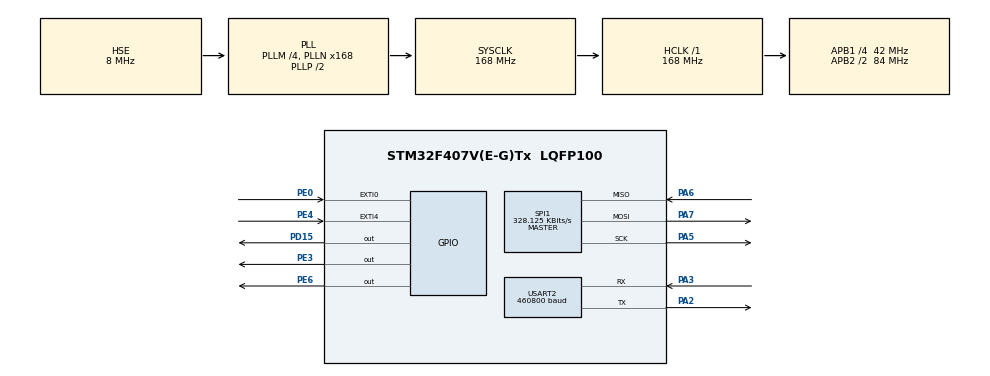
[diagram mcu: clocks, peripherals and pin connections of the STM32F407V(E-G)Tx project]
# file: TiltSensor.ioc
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Dma.Request0=SPI1_RX
Dma.Request1=SPI1_TX
Dma.Request2=USART2_TX
Dma.SPI1_RX.0.Direction=DMA_PERIPH_TO_MEMORY
Dma.SPI1_RX.0.FIFOMode=DMA_FIFOMODE_DISABLE
Dma.SPI1_RX.0.Instance=DMA2_Stream0
Dma.SPI1_RX.0.MemDataAlignment=DMA_MDATAALIGN_BYTE
Dma.SPI1_RX.0.MemInc=DMA_MINC_ENABLE
Dma.SPI1_RX.0.Mode=DMA_NORMAL
Dma.SPI1_RX.0.PeriphDataAlignment=DMA_PDATAALIGN_BYTE
Dma.SPI1_RX.0.PeriphInc=DMA_PINC_DISABLE
Dma.SPI1_RX.0.Priority=DMA_PRIORITY_LOW
Dma.SPI1_TX.1.Direction=DMA_MEMORY_TO_PERIPH
Dma.SPI1_TX.1.FIFOMode=DMA_FIFOMODE_DISABLE
Dma.SPI1_TX.1.Instance=DMA2_Stream3
Dma.SPI1_TX.1.MemDataAlignment=DMA_MDATAALIGN_BYTE
Dma.SPI1_TX.1.MemInc=DMA_MINC_ENABLE
Dma.SPI1_TX.1.Mode=DMA_NORMAL
Dma.SPI1_TX.1.PeriphDataAlignment=DMA_PDATAALIGN_BYTE
Dma.SPI1_TX.1.PeriphInc=DMA_PINC_DISABLE
Dma.SPI1_TX.1.Priority=DMA_PRIORITY_LOW
Dma.USART2_TX.2.Direction=DMA_MEMORY_TO_PERIPH
Dma.USART2_TX.2.FIFOMode=DMA_FIFOMODE_DISABLE
Dma.USART2_TX.2.Instance=DMA1_Stream6
Dma.USART2_TX.2.MemDataAlignment=DMA_MDATAALIGN_BYTE
Dma.USART2_TX.2.MemInc=DMA_MINC_ENABLE
Dma.USART2_TX.2.Mode=DMA_NORMAL
Dma.USART2_TX.2.PeriphDataAlignment=DMA_PDATAALIGN_BYTE
Dma.USART2_TX.2.PeriphInc=DMA_PINC_DISABLE
Dma.USART2_TX.2.Priority=DMA_PRIORITY_LOW
FREERTOS.Queues01=QueueSPI1,16,uint16_t,0,Dynamic,NULL,NULL;QueueUART2,16,uint16_t,0,Dynamic,NULL,NULL
FREERTOS.Tasks01=defaultTask,24,128,StartDefaultTask,Default,NULL,Dynamic,NULL,NULL;MPU6500Task,8,128,MPU6500TaskEntry,Default,NULL,Dynamic,NULL,NULL;UART2ReceivedCm,8,128,UART2ReceivedCmdEntry,Default,NULL,Dynamic,NULL,NULL
Mcu.Family=STM32F4
Mcu.Name=STM32F407V(E-G)Tx
Mcu.Package=LQFP100
NVIC.DMA1_Stream6_IRQn=true\:5\:0\:false\:false\:true\:true\:false\:true
NVIC.DMA2_Stream0_IRQn=true\:5\:0\:false\:false\:true\:true\:false\:true
NVIC.DMA2_Stream3_IRQn=true\:5\:0\:true\:false\:true\:false\:false\:true
NVIC.PriorityGroup=NVIC_PRIORITYGROUP_4
NVIC.SPI1_IRQn=true\:5\:0\:false\:false\:true\:false\:true\:true
NVIC.TIM8_TRG_COM_TIM14_IRQn=true\:0\:0\:false\:false\:true\:false\:false\:true
NVIC.TimeBase=TIM8_TRG_COM_TIM14_IRQn
NVIC.TimeBaseIP=TIM14
NVIC.USART2_IRQn=true\:5\:0\:false\:false\:true\:true\:true\:true
PA13.Mode=Serial_Wire
PA13.Signal=SYS_JTMS-SWDIO
PA14.Mode=Serial_Wire
PA14.Signal=SYS_JTCK-SWCLK
PA2.Mode=Asynchronous
PA2.Signal=USART2_TX
PA3.Mode=Asynchronous
PA3.Signal=USART2_RX
PA5.Mode=Full_Duplex_Master
PA5.Signal=SPI1_SCK
PA6.Mode=Full_Duplex_Master
PA6.Signal=SPI1_MISO
PA7.Mode=Full_Duplex_Master
PA7.Signal=SPI1_MOSI
PD15.Signal=GPIO_Output
PE0.Signal=GPXTI0
PE3.Signal=GPIO_Output
PE4.Signal=GPXTI4
PE6.Signal=GPIO_Output
PH0-OSC_IN.Mode=HSE-External-Oscillator
PH0-OSC_IN.Signal=RCC_OSC_IN
PH1-OSC_OUT.Mode=HSE-External-Oscillator
PH1-OSC_OUT.Signal=RCC_OSC_OUT
ProjectManager.HeapSize=0x200
ProjectManager.StackSize=0x400
ProjectManager.TargetToolchain=STM32CubeIDE
RCC.48MHZClocksFreq_Value=84000000
RCC.AHBFreq_Value=168000000
RCC.APB1CLKDivider=RCC_HCLK_DIV4
RCC.APB1Freq_Value=42000000
RCC.APB1TimFreq_Value=84000000
RCC.APB2CLKDivider=RCC_HCLK_DIV2
RCC.APB2Freq_Value=84000000
RCC.APB2TimFreq_Value=168000000
RCC.CortexFreq_Value=168000000
RCC.HCLKFreq_Value=168000000
RCC.HSE_VALUE=8000000
RCC.HSI_VALUE=16000000
RCC.LSE_VALUE=32768
RCC.PLLM=4
RCC.PLLN=168
RCC.PLLSourceVirtual=RCC_PLLSOURCE_HSE
RCC.SYSCLKFreq_VALUE=168000000
RCC.SYSCLKSource=RCC_SYSCLKSOURCE_PLLCLK
RCC.VCOOutputFreq_Value=336000000
SPI1.BaudRatePrescaler=SPI_BAUDRATEPRESCALER_256
SPI1.CalculateBaudRate=328.125 KBits/s
SPI1.Direction=SPI_DIRECTION_2LINES
SPI1.Mode=SPI_MODE_MASTER
SPI1.VirtualType=VM_MASTER
USART2.BaudRate=460800
USART2.VirtualMode=VM_ASYNC
VP_FREERTOS_VS_CMSIS_V2.Mode=CMSIS_V2
VP_SYS_VS_tim14.Mode=TIM14
board=custom

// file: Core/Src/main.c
/* USER CODE BEGIN Header */
/**
 ******************************************************************************
 * @file           : main.c
 * @brief          : Main program body
 ******************************************************************************
 * @attention
 *
 * <h2><center>&copy; Copyright (c) 2020 STMicroelectronics.
 * All rights reserved.</center></h2>
 *
 * This software component is licensed by ST under BSD 3-Clause license,
 * the "License"; You may not use this file except in compliance with the
 * License. You may obtain a copy of the License at:
 *                        opensource.org/licenses/BSD-3-Clause
 *
 ******************************************************************************
 */
/* USER CODE END Header */
#include "main.h"
#include "cmsis_os.h"

SPI_HandleTypeDef hspi1;
DMA_HandleTypeDef hdma_spi1_rx;
DMA_HandleTypeDef hdma_spi1_tx;

UART_HandleTypeDef huart2;
DMA_HandleTypeDef hdma_usart2_tx;

/* Definitions for defaultTask */
osThreadId_t defaultTaskHandle;
const osThreadAttr_t defaultTask_attributes = { .name = "defaultTask",
		.priority = (osPriority_t) osPriorityNormal, .stack_size = 128 * 4 };
/* Definitions for MPU6500Task */
osThreadId_t MPU6500TaskHandle;
const osThreadAttr_t MPU6500Task_attributes = { .name = "MPU6500Task",
		.priority = (osPriority_t) osPriorityLow, .stack_size = 128 * 4 };
/* Definitions for UART2ReceivedCm */
osThreadId_t UART2ReceivedCmHandle;
const osThreadAttr_t UART2ReceivedCm_attributes = { .name = "UART2ReceivedCm",
		.priority = (osPriority_t) osPriorityLow, .stack_size = 128 * 4 };
/* Definitions for QueueSPI1 */
osMessageQueueId_t QueueSPI1Handle;
const osMessageQueueAttr_t QueueSPI1_attributes = { .name = "QueueSPI1" };
/* Definitions for QueueUART2 */
osMessageQueueId_t QueueUART2Handle;
const osMessageQueueAttr_t QueueUART2_attributes = { .name = "QueueUART2" };
/* USER CODE BEGIN PV */
uint8_t SPI1ReceiveArray[100], MPU6500Initialized;
uint8_t UART2TransmittArray[200];
uint8_t CalibratingStateMachine, Calibrate;
int16_t AccX, AccY, AccZ;
int16_t GyroX, GyroY, GyroZ;
int16_t AccXZero, AccYZero, AccZZero;
int16_t GyroXZero, GyroYZero, GyroZZero;
int32_t SummAccX, SummAccY, SummAccZ, SummGyroX, SummGyroY, SummGyroZ;
int16_t CalibrateCnt;
float AccXfl, AccYfl, AccZfl;
float GyroXfl, GyroYfl, GyroZfl;
int16_t Temperature, CntSPI;
volatile uint32_t TimestampCounter, Timestamp;
uint8_t PacketRec[SIZE_OF_REC_ARRAY];
/* USER CODE END PV */

void SystemClock_Config(void);
static void MX_GPIO_Init(void);
static void MX_DMA_Init(void);
static void MX_SPI1_Init(void);
static void MX_USART2_UART_Init(void);
void StartDefaultTask(void *argument);
void MPU6500TaskEntry(void *argument);
void UART2ReceivedCmdEntry(void *argument);

/* USER CODE BEGIN PFP */
void InitMPU6500(void);
void WriteRegisterMPU6500(uint8_t Addr, uint8_t Data);
uint8_t ReadRegisterMPU6500(uint8_t Addr);
unsigned char CalcCheckSumm(unsigned int N, unsigned char *Array);
void Calibrating(void);
/* USER CODE END PFP */

int main(void) {

	/* MCU Configuration--------------------------------------------------------*/

	/* Reset of all peripherals, Initializes the Flash interface and the Systick. */
	HAL_Init();

	/* Configure the system clock */
	SystemClock_Config();

	/* Initialize all configured peripherals */
	MX_GPIO_Init();
	MX_DMA_Init();
	MX_SPI1_Init();
	MX_USART2_UART_Init();
	/* USER CODE BEGIN 2 */
	HAL_GPIO_WritePin(LIS3DSH_CS, GPIO_PIN_SET); //CS=1 for onoard accelerometer
	HAL_GPIO_WritePin(MPU6500_CS, GPIO_PIN_SET); //CS=1 for MPU6500

	InitMPU6500();
	/* USER CODE END 2 */

	/* Init scheduler */
	osKernelInitialize();

	/* Create the queue(s) */
	/* creation of QueueSPI1 */
	QueueSPI1Handle = osMessageQueueNew(16, sizeof(uint16_t),
			&QueueSPI1_attributes);

	/* creation of QueueUART2 */
	QueueUART2Handle = osMessageQueueNew(16, sizeof(uint16_t),
			&QueueUART2_attributes);

	/* Create the thread(s) */
	/* creation of defaultTask */
	defaultTaskHandle = osThreadNew(StartDefaultTask, NULL,
			&defaultTask_attributes);

	/* creation of MPU6500Task */
	MPU6500TaskHandle = osThreadNew(MPU6500TaskEntry, NULL,
			&MPU6500Task_attributes);

	/* creation of UART2ReceivedCm */
	UART2ReceivedCmHandle = osThreadNew(UART2ReceivedCmdEntry, NULL,
			&UART2ReceivedCm_attributes);

	/* USER CODE BEGIN RTOS_EVENTS */
	/* add events, ... */
	CalibratingStateMachine = 0; //Старт калибровки
	//Calibrate = 1;//Калибровка по включению
	/* USER CODE END RTOS_EVENTS */

	/* Start scheduler */
	osKernelStart();

	/* We should never get here as control is now taken by the scheduler */
	/* Infinite loop */
	while (1) {

	}
}

void SystemClock_Config(void) {
	RCC_OscInitTypeDef RCC_OscInitStruct = { 0 };
	RCC_ClkInitTypeDef RCC_ClkInitStruct = { 0 };

	/** Configure the main internal regulator output voltage
	 */
	__HAL_RCC_PWR_CLK_ENABLE();
	__HAL_PWR_VOLTAGESCALING_CONFIG(PWR_REGULATOR_VOLTAGE_SCALE1);
	/** Initializes the RCC Oscillators according to the specified parameters
	 * in the RCC_OscInitTypeDef structure.
	 */
	RCC_OscInitStruct.OscillatorType = RCC_OSCILLATORTYPE_HSE;
	RCC_OscInitStruct.HSEState = RCC_HSE_ON;
	RCC_OscInitStruct.PLL.PLLState = RCC_PLL_ON;
	RCC_OscInitStruct.PLL.PLLSource = RCC_PLLSOURCE_HSE;
	RCC_OscInitStruct.PLL.PLLM = 4;
	RCC_OscInitStruct.PLL.PLLN = 168;
	RCC_OscInitStruct.PLL.PLLP = RCC_PLLP_DIV2;
	RCC_OscInitStruct.PLL.PLLQ = 4;
	if (HAL_RCC_OscConfig(&RCC_OscInitStruct) != HAL_OK) {
		Error_Handler();
	}
	/** Initializes the CPU, AHB and APB buses clocks
	 */
	RCC_ClkInitStruct.ClockType = RCC_CLOCKTYPE_HCLK | RCC_CLOCKTYPE_SYSCLK
			| RCC_CLOCKTYPE_PCLK1 | RCC_CLOCKTYPE_PCLK2;
	RCC_ClkInitStruct.SYSCLKSource = RCC_SYSCLKSOURCE_PLLCLK;
	RCC_ClkInitStruct.AHBCLKDivider = RCC_SYSCLK_DIV1;
	RCC_ClkInitStruct.APB1CLKDivider = RCC_HCLK_DIV4;
	RCC_ClkInitStruct.APB2CLKDivider = RCC_HCLK_DIV2;

	if (HAL_RCC_ClockConfig(&RCC_ClkInitStruct, FLASH_LATENCY_5) != HAL_OK) {
		Error_Handler();
	}
}

static void MX_SPI1_Init(void) {

	/* SPI1 parameter configuration*/
	hspi1.Instance = SPI1;
	hspi1.Init.Mode = SPI_MODE_MASTER;
	hspi1.Init.Direction = SPI_DIRECTION_2LINES;
	hspi1.Init.DataSize = SPI_DATASIZE_8BIT;
	hspi1.Init.CLKPolarity = SPI_POLARITY_LOW;
	hspi1.Init.CLKPhase = SPI_PHASE_1EDGE;
	hspi1.Init.NSS = SPI_NSS_SOFT;
	hspi1.Init.BaudRatePrescaler = SPI_BAUDRATEPRESCALER_256;
	hspi1.Init.FirstBit = SPI_FIRSTBIT_MSB;
	hspi1.Init.TIMode = SPI_TIMODE_DISABLE;
	hspi1.Init.CRCCalculation = SPI_CRCCALCULATION_DISABLE;
	hspi1.Init.CRCPolynomial = 10;
	if (HAL_SPI_Init(&hspi1) != HAL_OK) {
		Error_Handler();
	}

}

static void MX_USART2_UART_Init(void) {

	huart2.Instance = USART2;
	huart2.Init.BaudRate = 460800;
	huart2.Init.WordLength = UART_WORDLENGTH_8B;
	huart2.Init.StopBits = UART_STOPBITS_1;
	huart2.Init.Parity = UART_PARITY_NONE;
	huart2.Init.Mode = UART_MODE_TX_RX;
	huart2.Init.HwFlowCtl = UART_HWCONTROL_NONE;
	huart2.Init.OverSampling = UART_OVERSAMPLING_16;
	if (HAL_UART_Init(&huart2) != HAL_OK) {
		Error_Handler();
	}
	/* USER CODE BEGIN USART2_Init 2 */

	huart2.Instance->CR1 |= USART_CR1_RXNEIE;

	/* USER CODE END USART2_Init 2 */

}

static void MX_DMA_Init(void) {

	/* DMA controller clock enable */
	__HAL_RCC_DMA2_CLK_ENABLE();
	__HAL_RCC_DMA1_CLK_ENABLE();

	/* DMA interrupt init */
	/* DMA1_Stream6_IRQn interrupt configuration */
	HAL_NVIC_SetPriority(DMA1_Stream6_IRQn, 5, 0);
	HAL_NVIC_EnableIRQ(DMA1_Stream6_IRQn);
	/* DMA2_Stream0_IRQn interrupt configuration */
	HAL_NVIC_SetPriority(DMA2_Stream0_IRQn, 5, 0);
	HAL_NVIC_EnableIRQ(DMA2_Stream0_IRQn);
	/* DMA2_Stream3_IRQn interrupt configuration */
	HAL_NVIC_SetPriority(DMA2_Stream3_IRQn, 5, 0);
	HAL_NVIC_EnableIRQ(DMA2_Stream3_IRQn);

}

static void MX_GPIO_Init(void) {
	GPIO_InitTypeDef GPIO_InitStruct = { 0 };

	/* GPIO Ports Clock Enable */
	__HAL_RCC_GPIOE_CLK_ENABLE();
	__HAL_RCC_GPIOH_CLK_ENABLE();
	__HAL_RCC_GPIOA_CLK_ENABLE();
	__HAL_RCC_GPIOD_CLK_ENABLE();

	/*Configure GPIO pin Output Level */
	HAL_GPIO_WritePin(GPIOE, GPIO_PIN_3 | GPIO_PIN_6, GPIO_PIN_RESET);

	/*Configure GPIO pin Output Level */
	HAL_GPIO_WritePin(GPIOD, GPIO_PIN_15, GPIO_PIN_RESET);

	/*Configure GPIO pins : PE3 PE6 */
	GPIO_InitStruct.Pin = GPIO_PIN_3 | GPIO_PIN_6;
	GPIO_InitStruct.Mode = GPIO_MODE_OUTPUT_PP;
	GPIO_InitStruct.Pull = GPIO_NOPULL;
	GPIO_InitStruct.Speed = GPIO_SPEED_FREQ_LOW;
	HAL_GPIO_Init(GPIOE, &GPIO_InitStruct);

	/*Configure GPIO pins : PE4 PE0 */
	GPIO_InitStruct.Pin = GPIO_PIN_4 | GPIO_PIN_0;
	GPIO_InitStruct.Mode = GPIO_MODE_IT_RISING;
	GPIO_InitStruct.Pull = GPIO_NOPULL;
	HAL_GPIO_Init(GPIOE, &GPIO_InitStruct);

	/*Configure GPIO pin : PD15 */
	GPIO_InitStruct.Pin = GPIO_PIN_15;
	GPIO_InitStruct.Mode = GPIO_MODE_OUTPUT_PP;
	GPIO_InitStruct.Pull = GPIO_NOPULL;
	GPIO_InitStruct.Speed = GPIO_SPEED_FREQ_LOW;
	HAL_GPIO_Init(GPIOD, &GPIO_InitStruct);

}

/* USER CODE BEGIN 4 */
void InitMPU6500(void) {
	uint8_t Ch;

	//WriteRegisterMPU6500(CTRL_REG3,0x1);//soft reset

	Ch = ReadRegisterMPU6500(117);
	asm("Nop");

	WriteRegisterMPU6500(PWR_MGMT_1, 0x80);
	HAL_Delay(110);
	WriteRegisterMPU6500(SIGNAL_PATH_RESET, 0x07);
	HAL_Delay(110);
	WriteRegisterMPU6500(USER_CTRL, 0x10);
	HAL_Delay(110);

	WriteRegisterMPU6500(ACCEL_CONFIG, 0x0);
	WriteRegisterMPU6500(ACCEL_CONFIG_2, 0x0);
	WriteRegisterMPU6500(GYRO_CONFIG, 0x0);

	WriteRegisterMPU6500(PWR_MGMT_1, 0x0);
	WriteRegisterMPU6500(PWR_MGMT_2, 0x0);
	//WriteRegisterMPU6500(LP_ACCEL_ODR, 10);

	WriteRegisterMPU6500(FIFO_EN, 0x0);
	WriteRegisterMPU6500(CONFIG, 0x0);

	WriteRegisterMPU6500(INT_PIN_CFG, 0x30);
	WriteRegisterMPU6500(INT_ENABLE, 0x1);

	WriteRegisterMPU6500(SMPLRT_DIV, 0x0);

	MPU6500Initialized = 1;
}

void WriteRegisterMPU6500(uint8_t Addr, uint8_t Data) {
	uint8_t TrmBytes[2];

	HAL_GPIO_WritePin(MPU6500_CS, GPIO_PIN_RESET);
	TrmBytes[0] = Addr;
	TrmBytes[1] = Data;
	HAL_SPI_Transmit(&hspi1, TrmBytes, 2, 1000);
	HAL_GPIO_WritePin(MPU6500_CS, GPIO_PIN_SET);
}

uint8_t ReadRegisterMPU6500(uint8_t Addr) {
	uint8_t TrmByte, RecByte;

	HAL_GPIO_WritePin(MPU6500_CS, GPIO_PIN_RESET);
	TrmByte = Addr;
	TrmByte |= 0x80;
	HAL_SPI_Transmit(&hspi1, &TrmByte, 1, 1000);
	HAL_SPI_Receive(&hspi1, &RecByte, 1, 1000);

	HAL_GPIO_WritePin(MPU6500_CS, GPIO_PIN_SET);

	return RecByte;
}

void ProcessDataMPU6500(void) {

	AccX = (((int16_t) SPI1ReceiveArray[1]) << 8)
			+ (int16_t) SPI1ReceiveArray[2];
	AccY = (((int16_t) SPI1ReceiveArray[3]) << 8)
			+ (int16_t) SPI1ReceiveArray[4];
	AccZ = (((int16_t) SPI1ReceiveArray[5]) << 8)
			+ (int16_t) SPI1ReceiveArray[6];

	Temperature = (((int16_t) SPI1ReceiveArray[7]) << 8)
			+ (int16_t) SPI1ReceiveArray[8];

	GyroX = (((int16_t) SPI1ReceiveArray[9]) << 8)
			+ (int16_t) SPI1ReceiveArray[10];
	GyroY = (((int16_t) SPI1ReceiveArray[11]) << 8)
			+ (int16_t) SPI1ReceiveArray[12];
	GyroZ = (((int16_t) SPI1ReceiveArray[13]) << 8)
			+ (int16_t) SPI1ReceiveArray[14];

	Calibrating();

	AccXfl = AccXZero - AccX;//меняем знак оси, чтобы он соответствовал матрице поворота
	AccYfl = AccYZero - AccY;//меняем знак оси, чтобы он соответствовал матрице поворота
	AccZfl = AccZ - AccZZero;
	GyroXfl = GyroX - GyroXZero;
	GyroYfl = GyroY - GyroYZero;
	GyroZfl = GyroZ - GyroZZero;

}

void Calibrating(void) {
	if (!Calibrate)
		return;

	switch (CalibratingStateMachine) {
	case 0:
		CalibrateCnt = 250;
		SummAccX = 0;
		SummAccY = 0;
		SummAccZ = 0;
		SummGyroX = 0;
		SummGyroY = 0;
		SummGyroZ = 0;
		CalibratingStateMachine = 1;
		break;
	case 1:
		CalibrateCnt--;
		if (!CalibrateCnt)
			CalibratingStateMachine = 2;
		break;
	case 2:
		SummAccX = SummAccX + AccX;
		SummAccY = SummAccY + AccY;
		SummAccZ = SummAccZ + AccZ;
		SummGyroX = SummGyroX + GyroX;
		SummGyroY = SummGyroY + GyroY;
		SummGyroZ = SummGyroZ + GyroZ;

		CalibrateCnt++;
		if (CalibrateCnt >= 64) {
			AccXZero = (int16_t) (SummAccX >> 6);
			AccYZero = (int16_t) (SummAccY >> 6);
			AccZZero = 16384 + (int16_t) (SummAccZ >> 6);
			GyroXZero = (int16_t) (SummGyroX >> 6);
			GyroYZero = (int16_t) (SummGyroY >> 6);
			GyroZZero = (int16_t) (SummGyroZ >> 6);
			CalibratingStateMachine = 0;
			Calibrate = 0;
		}
		break;

	default:
		CalibratingStateMachine = 0;
		break;
	}
}

void TrmDataToUART(void) {
	int16_t BytesCounter = 4;
	int16_t *Ptr16;
	uint32_t *Ptr32;
	float *PtrFl;

	UART2TransmittArray[0] = HEADER1; //Заголовок пакета из 2-х байт
	UART2TransmittArray[1] = HEADER2;

	UART2TransmittArray[3] = TRM_DATA_PACKET; //Команда

	Ptr32 = (uint32_t*) &UART2TransmittArray[BytesCounter];
	*Ptr32 = Timestamp;
	BytesCounter = BytesCounter + sizeof(uint32_t);

	Ptr16 = (int16_t*) &UART2TransmittArray[BytesCounter];
	*Ptr16 = (int16_t) AccXfl;
	BytesCounter = BytesCounter + sizeof(int16_t);

	Ptr16 = (int16_t*) &UART2TransmittArray[BytesCounter];
	*Ptr16 = (int16_t) AccYfl;
	BytesCounter = BytesCounter + sizeof(int16_t);

	Ptr16 = (int16_t*) &UART2TransmittArray[BytesCounter];
	*Ptr16 = (int16_t) AccZfl;
	BytesCounter = BytesCounter + sizeof(int16_t);

	Ptr16 = (int16_t*) &UART2TransmittArray[BytesCounter];
	*Ptr16 = (int16_t) GyroXfl;
	BytesCounter = BytesCounter + sizeof(int16_t);

	Ptr16 = (int16_t*) &UART2TransmittArray[BytesCounter];
	*Ptr16 = (int16_t) GyroYfl;
	BytesCounter = BytesCounter + sizeof(int16_t);

	Ptr16 = (int16_t*) &UART2TransmittArray[BytesCounter];
	*Ptr16 = (int16_t) GyroZfl;
	BytesCounter = BytesCounter + sizeof(int16_t);

	PtrFl = (float*) &UART2TransmittArray[BytesCounter];
	*PtrFl = (float) TiltX;
	BytesCounter = BytesCounter + sizeof(float);

	PtrFl = (float*) &UART2TransmittArray[BytesCounter];
	*PtrFl = (float) TiltY;
	BytesCounter = BytesCounter + sizeof(float);

	UART2TransmittArray[2] = BytesCounter + 1; //Число передаваемых байт

	UART2TransmittArray[BytesCounter++] = CalcCheckSumm(
			UART2TransmittArray[2] - 3, &UART2TransmittArray[2]);

	HAL_UART_Transmit_DMA(&huart2, (uint8_t*) UART2TransmittArray,
			UART2TransmittArray[2]);
}

unsigned char CalcCheckSumm(unsigned int N, unsigned char *Array) {
	unsigned int Summ = 0, j;

	for (j = 0; j < N; j++)
		Summ = Summ + Array[j];

	Summ = ~Summ;

	return (unsigned char) Summ;

}

/* USER CODE END 4 */

void StartDefaultTask(void *argument) {
	for (;;) {
		osDelay(1);
	}
}

void MPU6500TaskEntry(void *argument) {
	/* USER CODE BEGIN MPU6500TaskEntry */
	short msg;

	/* Infinite loop */
	for (;;) {
		osStatus_t msg_Result = osMessageQueueGet(QueueSPI1Handle, &msg, 0, 0);
		if (msg_Result == osOK) {
			switch (msg) {
			case 1234:
				HAL_GPIO_WritePin (GPIOD, GPIO_PIN_15,GPIO_PIN_SET ); //светодиод
				ProcessDataMPU6500();
				CalcullateTilts();
				TrmDataToUART();
				HAL_GPIO_WritePin (GPIOD, GPIO_PIN_15,GPIO_PIN_RESET ); //светодиод
				break;
			default:
				break;
			}
		}

		osDelay(1);
	}
	/* USER CODE END MPU6500TaskEntry */
}

void UART2ReceivedCmdEntry(void *argument) {
	/* USER CODE BEGIN UART2ReceivedCmdEntry */
	int16_t Tmp;
	/* Infinite loop */
	for (;;) {
		short msg;

		osStatus_t msg_Result = osMessageQueueGet(QueueUART2Handle, &msg, 0, 0);
		if (msg_Result == osOK) {
			switch (msg) {
			case 1235:
				switch (PacketRec[1]) {
				case K_ACCEL_GYRO:
					Tmp = (int16_t) PacketRec[2]
							+ (((int16_t) PacketRec[3]) << 8);
					KGyro = (float) Tmp / 1000;
					KAcc = 1 - KGyro;
					break;
				case CALIBRATE_ACCEL_GYRO:
					Calibrate = 1;//Калибровка
					break;
				default:
					break;
				}
				break;
			default:
				break;
			}
		} else
			asm("Nop");
		osDelay(1);
	}
	/* USER CODE END UART2ReceivedCmdEntry */
}

void HAL_TIM_PeriodElapsedCallback(TIM_HandleTypeDef *htim) {
	/* USER CODE BEGIN Callback 0 */
	uint8_t TrmByte;
	/* USER CODE END Callback 0 */
	if (htim->Instance == TIM14) {
		HAL_IncTick();
	}
	/* USER CODE BEGIN Callback 1 */
	TimestampCounter++;

	if (CntSPI > 3) {
		CntSPI = 0;
		if (MPU6500Initialized) {
			TrmByte = ACCEL_XOUT_H;		//Start MPU6500 data transfer   250Hz
			TrmByte |= 0x80;
			HAL_GPIO_WritePin(MPU6500_CS, GPIO_PIN_RESET);
			HAL_SPI_TransmitReceive_DMA(&hspi1, &TrmByte, SPI1ReceiveArray, 16);
//			HAL_GPIO_TogglePin(GPIOD, GPIO_PIN_15); //светодиод
		}
	}

	CntSPI++;

	/* USER CODE END Callback 1 */
}

void Error_Handler(void) {
}

/************************ (C) COPYRIGHT STMicroelectronics *****END OF FILE****/
